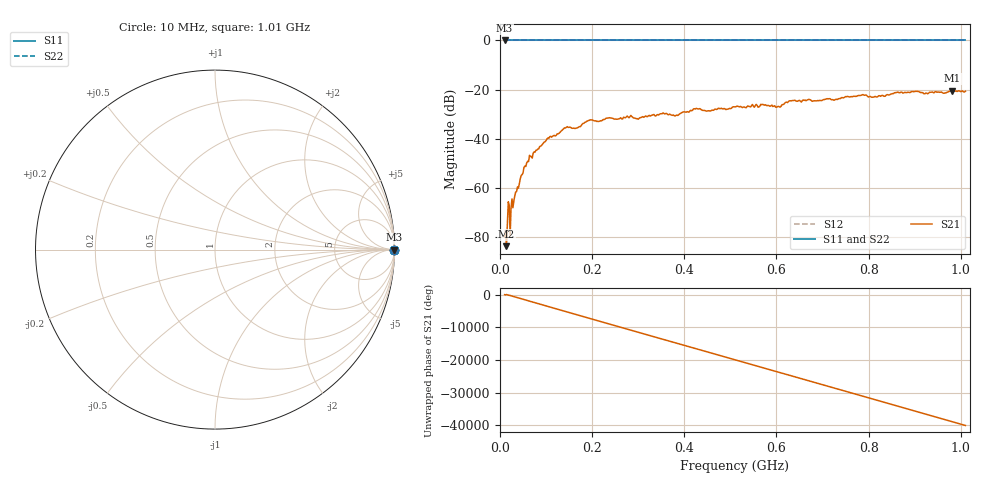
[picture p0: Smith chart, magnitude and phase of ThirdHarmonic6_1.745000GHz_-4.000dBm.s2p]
! 8/16/2025 9:02:18 PM
! C:\ANRITSUVNA\TEMP\TEMP.S2P
! CHANNEL.1
! TR.MEASUREMENT
! RAW.DATA
! RF.CORRECTION.OFF
! AVERAGING.OFF
! IF.BANDWIDTH: 5KHZ
! SWEEPTYPE:  FREQ.SWEEP(Linear)
! Reference Plane Port Info
! PORT:  PORT1  PORT2
! DISTANCE:  0  m  0  m
! TIME:  0  s  0  s
! PHASE.OFFSET:  0  deg.  0  deg.
! LOSS:  0  dB  0  dB
! REF.LOSS:  0  dB  0  dB
! REF.FREQ:  0  Hz  0  Hz
! Power Info
! POWER:  -20  dBm  -20  dBm
! EFF.POWER:  -20  dBm  -20  dBm
! SOURCE.ATTEN:  0  dB  0  dB
! TEST.ATTEN:  0  dB  0  dB
# GHZ S RI R 50.0
! FREQ.GHZ  S11RE  S11IM  S21RE  S21IM  S12RE  S12IM  S22RE  S22IM
!; PortSelection: Port_12
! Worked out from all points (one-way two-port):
!   501 points, 10 MHz to 1.01 GHz, reference 50 ohm
!   highest |S21| = -20.40 dB at 982 MHz (marker M1); lowest = -83.8 dB at 14 MHz (marker M2)
!   lowest |S11| = 0.0 dB at 10 MHz (marker M3)
!   |S11| at or under -10 dB: nowhere
!   |S22| runs from 0.0 to 0.0 dB; largest |S21 - S12| = 1.1
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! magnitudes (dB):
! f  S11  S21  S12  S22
! 10 MHz  0.0  -80.2  0.0  0.0
! 14 MHz  0.0  -83.8  0.0  0.0
! 16 MHz  0.0  -74.8  0.0  0.0
! 18 MHz  0.0  -65.7  0.0  0.0
! 22 MHz  0.0  -79.6  0.0  0.0
! 26 MHz  0.0  -64.6  0.0  0.0
! 28 MHz  0.0  -68.2  0.0  0.0
! 48 MHz  0.0  -54.7  0.0  0.0
! 64 MHz  0.0  -46.8  0.0  0.0
! 106 MHz  0.0  -39.9  0.0  0.0
! 142 MHz  0.0  -35.7  0.0  0.0
! 178 MHz  0.0  -34.2  0.0  0.0
! 196 MHz  0.0  -32.3  0.0  0.0
! 344 MHz  0.0  -30.4  0.0  0.0
! 382 MHz  0.0  -30.5  0.0  0.0
! 510 MHz  0.0  -27.1  0.0  0.0
! 604 MHz  0.0  -26.8  0.0  0.0
! 632 MHz  0.0  -24.6  0.0  0.0
! 678 MHz  0.0  -24.8  0.0  0.0
! 844 MHz  0.0  -22.2  0.0  0.0
! 982 MHz  0.0  -20.4  0.0  0.0
! 1.01 GHz  0.0  -20.7  0.0  0.0
